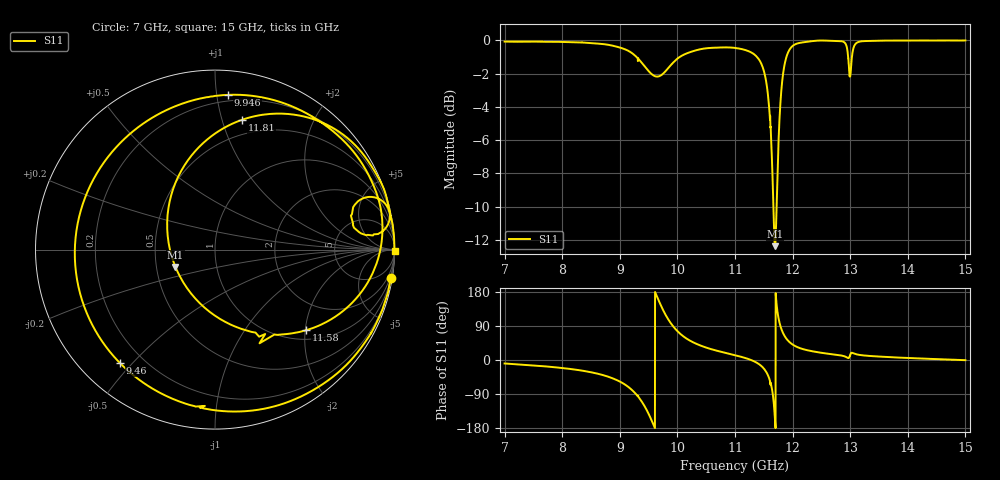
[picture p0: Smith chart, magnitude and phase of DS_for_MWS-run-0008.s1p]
! TOUCHSTONE file generated by CST DESIGN STUDIO
! Date and time: Mon Feb 10 16:54:08 2025
! Project name: C:\Work\MatlabApps\UnitCellType2OptimizationMatlab\CST\unitcell.cst
! Tree item: Tasks\Sweep1\SPara1\S-Parameters
! Header version: 2024
! Port assignment regex: !\s*Touchstone port\s*([0-9]+)\s*=\s*(CST MWS port|CST DES external port|CST DES block port)\s*(.+)\s* \(\"(.*)\"\)(\s*mode\s*([0-9]+))?.*
! Touchstone port assignment:
! Touchstone port 1 = CST DES external port 1 ("")
# GHz S MA R 50
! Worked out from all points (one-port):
!   4001 points, 7 GHz to 15 GHz, reference 50 ohm
!   lowest |S11| = -12.4 dB at 11.69 GHz (marker M1), VSWR 1.63, Z = 31.4 - j6.42 ohm
!   |S11| at or under -10 dB: 11.6669 GHz to 11.72181 GHz (54.9 MHz wide, 0.469 % of centre)
!   S11 on the Smith chart (normalised r, x): 7 GHz: 1, -12; 9.46 GHz: 0.12, -0.46; 9.946 GHz: 0.16, +1.07; 11.58 GHz: 1.21, -2.02; 11.81 GHz: 0.37, +1.16; 15 GHz: open
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7  0.9926 -9.2
8  0.9897 -21.2
8.626  0.9784 -36.6
9  0.9524 -56.8
9.284  0.894 -90.6
9.46  0.8245 -130.1
9.564  0.7894 -163.4
9.654  0.7788 164.4
9.794  0.8084 119.4
9.946  0.8651 85.2
10  0.8818 76.2
10.376  0.9394 39.7
11  0.9498 12.6
11.406  0.8819 -9.8
11.504  0.8066 -23.2
11.576  0.6772 -41.6
11.638  0.455 -73.3
11.694  0.2406 -156.4
11.744  0.4343 120.3
11.814  0.7385 78.3
11.9  0.9004 54.8
12  0.9627 40.8
12.576  0.9992 17.3
12.9  0.9867 9.8
13  0.7805 14.1
13.172  0.9928 13.2
14  0.9995 5.4
15  1 -0.4
